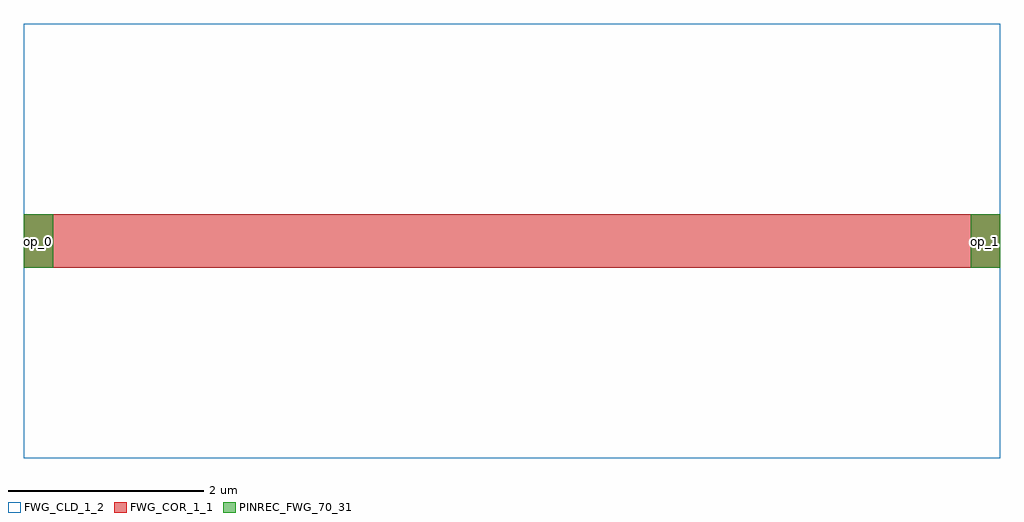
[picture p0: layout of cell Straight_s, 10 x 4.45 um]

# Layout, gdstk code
import gdstk
lib = gdstk.Library(unit=1e-6, precision=1e-09)
def R(c, l, rs):  # rectangles x0, y0, x1, y1
    for r in rs: c.add(gdstk.rectangle(r[:2], r[2:], *l))
def P(c, l, *ps):  # polygons
    for p in ps: c.add(gdstk.Polygon(p, *l))
FWG_COR_1_1 = (1, 1)
FWG_CLD_1_2 = (1, 2)
PINREC_FWG_70_31 = (70, 31)

c_wg = lib.new_cell('wg')
R(c_wg, FWG_COR_1_1, [(0,-0.275,10,0.275)])
P(c_wg, FWG_CLD_1_2, [(0,2.225),(10,2.225),(10,0.275),(10,-0.275),(10,-2.225),(0,-2.225),(0,-0.275),(0,0.275)])
R(c_wg, PINREC_FWG_70_31, [(0,-0.275,0.3,0.275), (9.7,-0.275,10,0.275)])
c_wg.add(gdstk.Label('op_0', (0.15,0), layer=70, texttype=41))
c_wg.add(gdstk.Label('op_1', (9.85,0), layer=70, texttype=41))

straight_s = lib.new_cell('Straight_s')
R(straight_s, PINREC_FWG_70_31, [(0,-0.275,0.3,0.275), (9.7,-0.275,10,0.275)])
straight_s.add(gdstk.Reference(c_wg, (0,0)))
straight_s.add(gdstk.Label('op_0', (0.15,0), layer=70, texttype=41))
straight_s.add(gdstk.Label('op_1', (9.85,0), layer=70, texttype=41))

lib.write_gds('Straight_s.gds')
